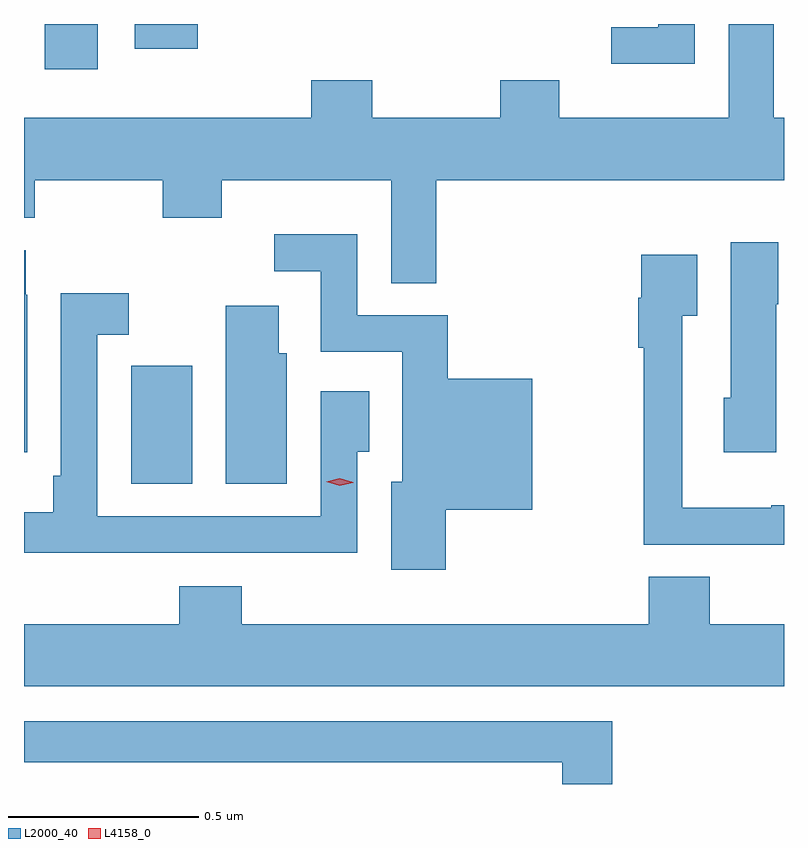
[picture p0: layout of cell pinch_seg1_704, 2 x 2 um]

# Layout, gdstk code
import gdstk
lib = gdstk.Library(unit=1e-6, precision=1e-09)
def R(c, l, rs):  # rectangles x0, y0, x1, y1
    for r in rs: c.add(gdstk.rectangle(r[:2], r[2:], *l))
def P(c, l, *ps):  # polygons
    for p in ps: c.add(gdstk.Polygon(p, *l))
L2000_40 = (2000, 40)
L4158_0 = (4158, 0)

pinch_seg1_704 = lib.new_cell('pinch_seg1_704')
R(pinch_seg1_704, L2000_40, [(635.975,566.917,636.136,567.228), (635.747,568.008,635.887,568.127), (635.984,568.062,636.15,568.127)])
P(pinch_seg1_704, L2000_40, [(636.778,567.716),(637.693,567.716),(637.693,567.88),(637.666,567.88),(637.666,568.127),(637.547,568.127),(637.547,567.88),(637.101,567.88),(637.101,567.979),(636.946,567.979),(636.946,567.88),(636.609,567.88),(636.609,567.979),(636.449,567.979),(636.449,567.88),(635.693,567.88),(635.693,567.617),(635.721,567.617),(635.721,567.716),(636.058,567.716),(636.058,567.617),(636.213,567.617),(636.213,567.716),(636.659,567.716),(636.659,567.445),(636.778,567.445)],
  [(637.458,568.127),(637.362,568.127),(637.362,568.119),(637.239,568.119),(637.239,568.022),(637.458,568.022)],
  [(636.803,566.849),(637.03,566.849),(637.03,567.193),(636.808,567.193),(636.808,567.36),(636.57,567.36),(636.57,567.574),(636.351,567.574),(636.351,567.477),(636.474,567.477),(636.474,567.264),(636.689,567.264),(636.689,566.923),(636.659,566.923),(636.659,566.691),(636.803,566.691)],
  [(637.672,567.39),(637.678,567.39),(637.678,567.553),(637.553,567.553),(637.553,567.144),(637.535,567.144),(637.535,567),(637.672,567)],
  [(635.701,567.414),(635.698,567.414),(635.698,567.532),(635.693,567.532),(635.693,567),(635.701,567)],
  [(637.693,566.86),(637.659,566.86),(637.659,566.854),(637.425,566.854),(637.425,567.359),(637.465,567.359),(637.465,567.52),(637.317,567.52),(637.317,567.407),(637.309,567.407),(637.309,567.275),(637.324,567.275),(637.324,566.757),(637.559,566.757),(637.559,566.756),(637.693,566.756)],
  [(635.983,566.736),(636.349,566.736),(636.349,566.735),(636.57,566.735),(636.57,567.001),(636.601,567.001),(636.601,567.16),(636.474,567.16),(636.474,566.832),(635.886,566.832),(635.886,567.309),(635.968,567.309),(635.968,567.418),(635.79,567.418),(635.79,566.938),(635.77,566.938),(635.77,566.842),(635.693,566.842),(635.693,566.735),(635.983,566.735)],
  [(636.385,567.261),(636.364,567.261),(636.364,567.385),(636.224,567.385),(636.224,566.917),(636.385,566.917)],
  [(637.693,566.548),(637.497,566.548),(637.497,566.672),(637.337,566.672),(637.337,566.548),(636.266,566.548),(636.266,566.647),(636.101,566.647),(636.101,566.548),(635.693,566.548),(635.693,566.384),(637.693,566.384)],
  [(637.241,566.292),(635.693,566.292),(635.693,566.184),(637.109,566.184),(637.109,566.127),(637.241,566.127)])
P(pinch_seg1_704, L4158_0, [(636.524,566.912),(636.488,566.922),(636.488,566.922),(636.488,566.922),(636.524,566.932),(636.56,566.921),(636.56,566.921),(636.56,566.92)])

lib.write_gds('pinch_seg1_704.gds')
